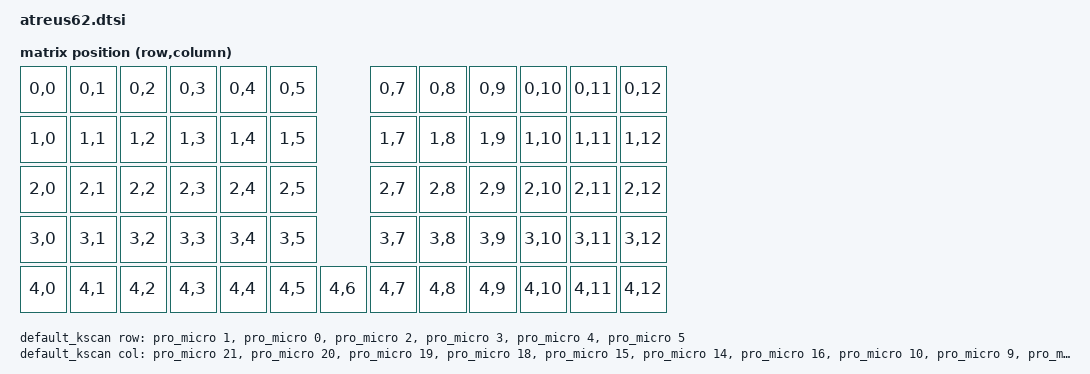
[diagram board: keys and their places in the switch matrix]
/*
 * Copyright (c) 2026 The ZMK Contributors
 *
 * SPDX-License-Identifier: MIT
 *
 * Atreus62 (Falbatech / profet23 variant) shield for ZMK.
 * Designed for use with nice!nano (or any Pro Micro pin-compatible nRF52840 board).
 *
 * Matrix (5 rows x 13 cols), based on the original profet23/atreus62 QMK config:
 *   ROW_PINS (top -> bottom) = D2, D3, D1, D0, D4
 *     mapped to ZMK pro_micro pins: 2, 3, 1, 0, 4
 *   COL_PINS (left -> right)  = F4, F5, F6, F7, B1, B3, B2, B6, B5, B4, E6, D7, C6
 *     mapped to ZMK pro_micro pins: 21, 20, 19, 18, 15, 14, 16, 10, 9, 8, 7, 6, 5
 *
 * Physical layout (62 keys):
 *   ,---------------------------.        ,---------------------------.
 *   |  0  1  2  3  4  5         |        |        6  7  8  9 10 11   |
 *   | 12 13 14 15 16 17         |        |       18 19 20 21 22 23   |
 *   | 24 25 26 27 28 29         |        |       30 31 32 33 34 35   |
 *   | 36 37 38 39 40 41         |        |       42 43 44 45 46 47   |
 *   | 48 49 50 51 52 53 54      |        |    55 56 57 58 59 60 61   |
 *   `---------------------------'        `---------------------------'
 *
 * The inner-thumb keys (positions 54 and 55) share matrix column 6 of row 4.
 * Rows 0-3 do NOT have a physical switch at column 6 (the matrix gap the
 * profet23 PCB designer used to free a column for the inner thumbs).
 */

#include <dt-bindings/zmk/matrix_transform.h>
#include <physical_layouts.dtsi>

/ {
    chosen {
        zmk,kscan = &kscan0;
        zmk,physical-layout = &physical_layout0;
    };

    default_kscan: kscan {
		compatible = "zmk,kscan-gpio-matrix";
		label = "default_kscan";
		diode-direction = "row2col";

		row-gpios = <&pro_micro 1 GPIO_ACTIVE_HIGH>,
					<&pro_micro 0 GPIO_ACTIVE_HIGH>,
					<&pro_micro 2 GPIO_ACTIVE_HIGH>,
					<&pro_micro 3 GPIO_ACTIVE_HIGH>,
					<&pro_micro 4 GPIO_ACTIVE_HIGH>,
					<&pro_micro 5 GPIO_ACTIVE_HIGH>;

		col-gpios = <&pro_micro 21 (GPIO_ACTIVE_HIGH | GPIO_PULL_DOWN)>,
					<&pro_micro 20 (GPIO_ACTIVE_HIGH | GPIO_PULL_DOWN)>,
					<&pro_micro 19 (GPIO_ACTIVE_HIGH | GPIO_PULL_DOWN)>,
					<&pro_micro 18 (GPIO_ACTIVE_HIGH | GPIO_PULL_DOWN)>,
					<&pro_micro 15 (GPIO_ACTIVE_HIGH | GPIO_PULL_DOWN)>,
					<&pro_micro 14 (GPIO_ACTIVE_HIGH | GPIO_PULL_DOWN)>,
					<&pro_micro 16 (GPIO_ACTIVE_HIGH | GPIO_PULL_DOWN)>,
					<&pro_micro 10 (GPIO_ACTIVE_HIGH | GPIO_PULL_DOWN)>,
					<&pro_micro 9 (GPIO_ACTIVE_HIGH | GPIO_PULL_DOWN)>,
					<&pro_micro 8 (GPIO_ACTIVE_HIGH | GPIO_PULL_DOWN)>,
					<&pro_micro 7 (GPIO_ACTIVE_HIGH | GPIO_PULL_DOWN)>,
					<&pro_micro 6 (GPIO_ACTIVE_HIGH | GPIO_PULL_DOWN)>;
	};

    default_transform: keymap_transform0 {
        compatible = "zmk,matrix-transform";
        columns = <13>;
        rows = <5>;

        /*
         * 62 logical positions in reading order. Top 4 rows skip col 6
         * (no switch there). Bottom row uses all 13 columns.
         */
        map = <
            RC(0,0) RC(0,1) RC(0,2) RC(0,3) RC(0,4) RC(0,5)         RC(0,7) RC(0,8) RC(0,9) RC(0,10) RC(0,11) RC(0,12)
            RC(1,0) RC(1,1) RC(1,2) RC(1,3) RC(1,4) RC(1,5)         RC(1,7) RC(1,8) RC(1,9) RC(1,10) RC(1,11) RC(1,12)
            RC(2,0) RC(2,1) RC(2,2) RC(2,3) RC(2,4) RC(2,5)         RC(2,7) RC(2,8) RC(2,9) RC(2,10) RC(2,11) RC(2,12)
            RC(3,0) RC(3,1) RC(3,2) RC(3,3) RC(3,4) RC(3,5)         RC(3,7) RC(3,8) RC(3,9) RC(3,10) RC(3,11) RC(3,12)
            RC(4,0) RC(4,1) RC(4,2) RC(4,3) RC(4,4) RC(4,5) RC(4,6) RC(4,7) RC(4,8) RC(4,9) RC(4,10) RC(4,11) RC(4,12)
        >;
    };

    physical_layout0: physical_layout_0 {
        compatible = "zmk,physical-layout";
        display-name = "Default";
        transform = <&default_transform>;
        kscan = <&kscan0>;

        /*
         * Each key: <&key_physical_attrs width height x y rotation rx ry>
         * Units: 1/100 of a key (100 = 1u). Atreus62 has flat rows here
         * for clarity; ZMK Studio will still let you edit every key.
         */
        keys
            /* row 0 — number row */
            = <&key_physical_attrs 100 100    0    0 0 0 0>
            , <&key_physical_attrs 100 100  100    0 0 0 0>
            , <&key_physical_attrs 100 100  200    0 0 0 0>
            , <&key_physical_attrs 100 100  300    0 0 0 0>
            , <&key_physical_attrs 100 100  400    0 0 0 0>
            , <&key_physical_attrs 100 100  500    0 0 0 0>
            , <&key_physical_attrs 100 100  800    0 0 0 0>
            , <&key_physical_attrs 100 100  900    0 0 0 0>
            , <&key_physical_attrs 100 100 1000    0 0 0 0>
            , <&key_physical_attrs 100 100 1100    0 0 0 0>
            , <&key_physical_attrs 100 100 1200    0 0 0 0>
            , <&key_physical_attrs 100 100 1300    0 0 0 0>
            /* row 1 */
            , <&key_physical_attrs 100 100    0  100 0 0 0>
            , <&key_physical_attrs 100 100  100  100 0 0 0>
            , <&key_physical_attrs 100 100  200  100 0 0 0>
            , <&key_physical_attrs 100 100  300  100 0 0 0>
            , <&key_physical_attrs 100 100  400  100 0 0 0>
            , <&key_physical_attrs 100 100  500  100 0 0 0>
            , <&key_physical_attrs 100 100  800  100 0 0 0>
            , <&key_physical_attrs 100 100  900  100 0 0 0>
            , <&key_physical_attrs 100 100 1000  100 0 0 0>
            , <&key_physical_attrs 100 100 1100  100 0 0 0>
            , <&key_physical_attrs 100 100 1200  100 0 0 0>
            , <&key_physical_attrs 100 100 1300  100 0 0 0>
            /* row 2 — home row */
            , <&key_physical_attrs 100 100    0  200 0 0 0>
            , <&key_physical_attrs 100 100  100  200 0 0 0>
            , <&key_physical_attrs 100 100  200  200 0 0 0>
            , <&key_physical_attrs 100 100  300  200 0 0 0>
            , <&key_physical_attrs 100 100  400  200 0 0 0>
            , <&key_physical_attrs 100 100  500  200 0 0 0>
            , <&key_physical_attrs 100 100  800  200 0 0 0>
            , <&key_physical_attrs 100 100  900  200 0 0 0>
            , <&key_physical_attrs 100 100 1000  200 0 0 0>
            , <&key_physical_attrs 100 100 1100  200 0 0 0>
            , <&key_physical_attrs 100 100 1200  200 0 0 0>
            , <&key_physical_attrs 100 100 1300  200 0 0 0>
            /* row 3 — bottom letter row */
            , <&key_physical_attrs 100 100    0  300 0 0 0>
            , <&key_physical_attrs 100 100  100  300 0 0 0>
            , <&key_physical_attrs 100 100  200  300 0 0 0>
            , <&key_physical_attrs 100 100  300  300 0 0 0>
            , <&key_physical_attrs 100 100  400  300 0 0 0>
            , <&key_physical_attrs 100 100  500  300 0 0 0>
            , <&key_physical_attrs 100 100  800  300 0 0 0>
            , <&key_physical_attrs 100 100  900  300 0 0 0>
            , <&key_physical_attrs 100 100 1000  300 0 0 0>
            , <&key_physical_attrs 100 100 1100  300 0 0 0>
            , <&key_physical_attrs 100 100 1200  300 0 0 0>
            , <&key_physical_attrs 100 100 1300  300 0 0 0>
            /* row 4 — thumb / modifier row, 14 keys (no gap between halves) */
            , <&key_physical_attrs 100 100    0  400 0 0 0>
            , <&key_physical_attrs 100 100  100  400 0 0 0>
            , <&key_physical_attrs 100 100  200  400 0 0 0>
            , <&key_physical_attrs 100 100  300  400 0 0 0>
            , <&key_physical_attrs 100 100  400  400 0 0 0>
            , <&key_physical_attrs 100 100  500  400 0 0 0>
            , <&key_physical_attrs 100 100  600  400 0 0 0>   /* inner-left thumb */
            , <&key_physical_attrs 100 100  700  400 0 0 0>   /* inner-right thumb */
            , <&key_physical_attrs 100 100  800  400 0 0 0>
            , <&key_physical_attrs 100 100  900  400 0 0 0>
            , <&key_physical_attrs 100 100 1000  400 0 0 0>
            , <&key_physical_attrs 100 100 1100  400 0 0 0>
            , <&key_physical_attrs 100 100 1200  400 0 0 0>
            , <&key_physical_attrs 100 100 1300  400 0 0 0>
            ;
    };
};
